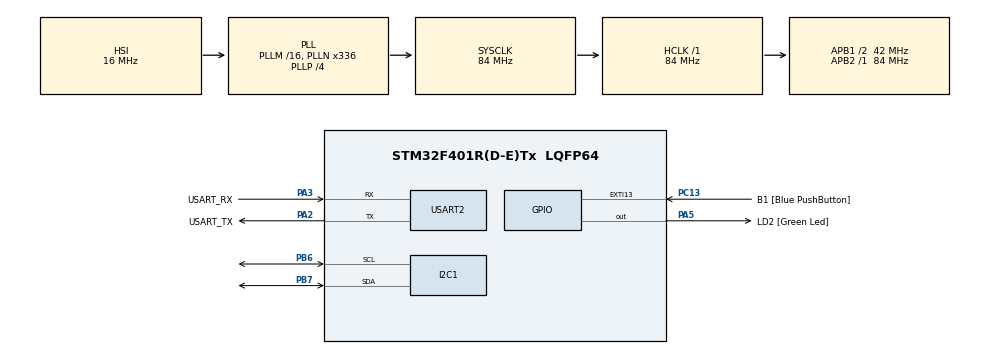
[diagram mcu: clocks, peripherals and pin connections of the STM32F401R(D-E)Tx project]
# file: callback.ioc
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Dma.I2C1_RX.0.Direction=DMA_PERIPH_TO_MEMORY
Dma.I2C1_RX.0.FIFOMode=DMA_FIFOMODE_DISABLE
Dma.I2C1_RX.0.Instance=DMA1_Stream0
Dma.I2C1_RX.0.MemDataAlignment=DMA_MDATAALIGN_BYTE
Dma.I2C1_RX.0.MemInc=DMA_MINC_ENABLE
Dma.I2C1_RX.0.Mode=DMA_NORMAL
Dma.I2C1_RX.0.PeriphDataAlignment=DMA_PDATAALIGN_BYTE
Dma.I2C1_RX.0.PeriphInc=DMA_PINC_DISABLE
Dma.I2C1_RX.0.Priority=DMA_PRIORITY_LOW
Dma.I2C1_TX.1.Direction=DMA_MEMORY_TO_PERIPH
Dma.I2C1_TX.1.FIFOMode=DMA_FIFOMODE_DISABLE
Dma.I2C1_TX.1.Instance=DMA1_Stream6
Dma.I2C1_TX.1.MemDataAlignment=DMA_MDATAALIGN_BYTE
Dma.I2C1_TX.1.MemInc=DMA_MINC_ENABLE
Dma.I2C1_TX.1.Mode=DMA_CIRCULAR
Dma.I2C1_TX.1.PeriphDataAlignment=DMA_PDATAALIGN_BYTE
Dma.I2C1_TX.1.PeriphInc=DMA_PINC_DISABLE
Dma.I2C1_TX.1.Priority=DMA_PRIORITY_LOW
Dma.Request0=I2C1_RX
Dma.Request1=I2C1_TX
FREERTOS.Queues01=myQueue01,16,uint16_t,0,Dynamic,NULL,NULL
FREERTOS.Tasks01=defaultTask,0,128,StartDefaultTask,Default,NULL,Dynamic,NULL,NULL;myTask02,-3,128,StartTask02,Default,NULL,Dynamic,NULL,NULL
Mcu.Family=STM32F4
Mcu.Name=STM32F401R(D-E)Tx
Mcu.Package=LQFP64
NVIC.DMA1_Stream0_IRQn=true\:5\:0\:false\:false\:true\:true\:false\:true\:true
NVIC.DMA1_Stream6_IRQn=true\:5\:0\:false\:false\:true\:true\:false\:true\:true
NVIC.PriorityGroup=NVIC_PRIORITYGROUP_4
PA13.GPIO_Label=TMS
PA13.Mode=Serial_Wire
PA13.Signal=SYS_JTMS-SWDIO
PA14.GPIO_Label=TCK
PA14.Mode=Serial_Wire
PA14.Signal=SYS_JTCK-SWCLK
PA2.GPIO_Label=USART_TX
PA2.GPIO_Mode=GPIO_MODE_AF_PP
PA2.GPIO_PuPd=GPIO_NOPULL
PA2.GPIO_Speed=GPIO_SPEED_FREQ_LOW
PA2.Mode=Asynchronous
PA2.Signal=USART2_TX
PA3.GPIO_Label=USART_RX
PA3.GPIO_Mode=GPIO_MODE_AF_PP
PA3.GPIO_PuPd=GPIO_NOPULL
PA3.GPIO_Speed=GPIO_SPEED_FREQ_LOW
PA3.Mode=Asynchronous
PA3.Signal=USART2_RX
PA5.GPIO_Label=LD2 [Green Led]
PA5.GPIO_Mode=GPIO_MODE_OUTPUT_PP
PA5.GPIO_PuPd=GPIO_NOPULL
PA5.GPIO_Speed=GPIO_SPEED_FREQ_LOW
PA5.Signal=GPIO_Output
PB3.GPIO_Label=SWO
PB3.Signal=SYS_JTDO-SWO
PB6.Mode=I2C
PB6.Signal=I2C1_SCL
PB7.Mode=I2C
PB7.Signal=I2C1_SDA
PC13-ANTI_TAMP.GPIO_Label=B1 [Blue PushButton]
PC13-ANTI_TAMP.GPIO_ModeDefaultEXTI=GPIO_MODE_IT_FALLING
PC13-ANTI_TAMP.GPIO_PuPd=GPIO_NOPULL
PC13-ANTI_TAMP.Signal=GPXTI13
PC14-OSC32_IN.Mode=LSE-External-Oscillator
PC14-OSC32_IN.Signal=RCC_OSC32_IN
PC15-OSC32_OUT.Mode=LSE-External-Oscillator
PC15-OSC32_OUT.Signal=RCC_OSC32_OUT
PH0\ -\ OSC_IN.Mode=HSE-External-Clock-Source
PH0\ -\ OSC_IN.Signal=RCC_OSC_IN
PH1\ -\ OSC_OUT.Mode=HSE-External-Clock-Source
PH1\ -\ OSC_OUT.Signal=RCC_OSC_OUT
ProjectManager.HeapSize=0x200
ProjectManager.StackSize=0x400
ProjectManager.TargetToolchain=STM32CubeIDE
RCC.48MHZClocksFreq_Value=48000000
RCC.AHBFreq_Value=84000000
RCC.APB1CLKDivider=RCC_HCLK_DIV2
RCC.APB1Freq_Value=42000000
RCC.APB1TimFreq_Value=84000000
RCC.APB2Freq_Value=84000000
RCC.APB2TimFreq_Value=84000000
RCC.CortexFreq_Value=84000000
RCC.HCLKFreq_Value=84000000
RCC.HSE_VALUE=8000000
RCC.HSI_VALUE=16000000
RCC.PLLN=336
RCC.PLLP=RCC_PLLP_DIV4
RCC.PLLQ=7
RCC.SYSCLKFreq_VALUE=84000000
RCC.SYSCLKSource=RCC_SYSCLKSOURCE_PLLCLK
RCC.VCOOutputFreq_Value=336000000
USART2.VirtualMode=VM_ASYNC
VP_FREERTOS_VS_CMSIS_V1.Mode=CMSIS_V1
board=NUCLEO-F401RE

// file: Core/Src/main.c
/* USER CODE BEGIN Header */
/**
  ******************************************************************************
  * @file           : main.c
  * @brief          : Main program body for MPU6050 with DMA callback function
  ******************************************************************************
  * @attention
  *
  * This code demonstrates interfacing with the MPU6050 sensor using I2C with DMA
  * and a callback function to handle the DMA transfer complete event. FreeRTOS is
  * used to periodically trigger sensor reads.
  *
  ******************************************************************************
  */
/* USER CODE END Header */

#include "main.h"
#include "cmsis_os.h"
#include <stdio.h>
#include <string.h>

#define MPU6050_ADDR         (0x68 << 1)  // MPU6050 I2C address (7-bit address shifted for HAL)
#define MPU6050_PWR_MGMT_1   0x6B         // Power management register address
#define MPU6050_ACCEL_XOUT_H 0x3B         // Starting register for accelerometer data

I2C_HandleTypeDef hi2c1;
DMA_HandleTypeDef hdma_i2c1_rx;
DMA_HandleTypeDef hdma_i2c1_tx;
UART_HandleTypeDef huart2;

osThreadId defaultTaskHandle;
osThreadId mpu6050TaskHandle;

/* Buffer for sensor data:
   6 bytes for accelerometer, 2 bytes for temperature, 6 bytes for gyroscope */
uint8_t mpu6050Data[14];

int16_t AccelX, AccelY, AccelZ;
int16_t Temperature;
int16_t GyroX, GyroY, GyroZ;

void SystemClock_Config(void);
static void MX_GPIO_Init(void);
static void MX_DMA_Init(void);
static void MX_USART2_UART_Init(void);
static void MX_I2C1_Init(void);
void StartDefaultTask(void const * argument);
void StartMPU6050Task(void const * argument);
void MPU6050_Init(void);
void MPU6050_Read(void);

/* USER CODE BEGIN 0 */
/* Initialize the MPU6050 sensor (wake it up) */
void MPU6050_Init(void)
{
  uint8_t data = 0;
  // Write 0 to the power management register to wake up MPU6050
  if (HAL_I2C_Mem_Write(&hi2c1, MPU6050_ADDR, MPU6050_PWR_MGMT_1, I2C_MEMADD_SIZE_8BIT,
                        &data, 1, HAL_MAX_DELAY) != HAL_OK)
  {
    Error_Handler();
  }
}

/* Start a DMA-based read from the MPU6050 */
void MPU6050_Read(void)
{
  // Read 14 bytes starting from the ACCEL_XOUT_H register
  if (HAL_I2C_Mem_Read_DMA(&hi2c1, MPU6050_ADDR, MPU6050_ACCEL_XOUT_H, I2C_MEMADD_SIZE_8BIT,
                           mpu6050Data, 14) != HAL_OK)
  {
    Error_Handler();
  }
}

/* Callback function: Called when the DMA-based I2C read is complete */
void HAL_I2C_MemRxCpltCallback(I2C_HandleTypeDef *hi2c)
{
  if (hi2c->Instance == I2C1)
  {
    // Combine high and low bytes for each measurement
    AccelX = (int16_t)(mpu6050Data[0] << 8 | mpu6050Data[1]);
    AccelY = (int16_t)(mpu6050Data[2] << 8 | mpu6050Data[3]);
    AccelZ = (int16_t)(mpu6050Data[4] << 8 | mpu6050Data[5]);
    GyroX = (int16_t)(mpu6050Data[8] << 8 | mpu6050Data[9]);
    GyroY = (int16_t)(mpu6050Data[10] << 8 | mpu6050Data[11]);
    GyroZ = (int16_t)(mpu6050Data[12] << 8 | mpu6050Data[13]);

    // Format a message with the detection confirmation and sensor values
    char msg[150];
    int len = snprintf(msg, sizeof(msg),
                       "Detected successfully: AX:%d AY:%d AZ:%d GX:%d GY:%d GZ:%d\r\n",
                       AccelX, AccelY, AccelZ, GyroX, GyroY, GyroZ);
    HAL_UART_Transmit(&huart2, (uint8_t*)msg, len, HAL_MAX_DELAY);
  }
}
/* USER CODE END 0 */

int main(void)
{
  /* MCU Configuration --------------------------------------------------------*/
  HAL_Init();
  SystemClock_Config();

  /* Initialize all configured peripherals */
  MX_GPIO_Init();
  MX_DMA_Init();
  MX_USART2_UART_Init();
  MX_I2C1_Init();

  /* Initialize the MPU6050 sensor */
  MPU6050_Init();

  /* Create the FreeRTOS tasks */
  osThreadDef(defaultTask, StartDefaultTask, osPriorityNormal, 0, 128);
  defaultTaskHandle = osThreadCreate(osThread(defaultTask), NULL);

  osThreadDef(mpu6050Task, StartMPU6050Task, osPriorityNormal, 0, 128);
  mpu6050TaskHandle = osThreadCreate(osThread(mpu6050Task), NULL);

  /* Start scheduler */
  osKernelStart();

  /* Infinite loop (should never reach here) */
  while (1)
  {
  }
}

void SystemClock_Config(void)
{
  RCC_OscInitTypeDef RCC_OscInitStruct = {0};
  RCC_ClkInitTypeDef RCC_ClkInitStruct = {0};

  __HAL_RCC_PWR_CLK_ENABLE();
  __HAL_PWR_VOLTAGESCALING_CONFIG(PWR_REGULATOR_VOLTAGE_SCALE2);

  RCC_OscInitStruct.OscillatorType = RCC_OSCILLATORTYPE_HSI;
  RCC_OscInitStruct.HSIState = RCC_HSI_ON;
  RCC_OscInitStruct.HSICalibrationValue = RCC_HSICALIBRATION_DEFAULT;
  RCC_OscInitStruct.PLL.PLLState = RCC_PLL_ON;
  RCC_OscInitStruct.PLL.PLLSource = RCC_PLLSOURCE_HSI;
  RCC_OscInitStruct.PLL.PLLM = 16;
  RCC_OscInitStruct.PLL.PLLN = 336;
  RCC_OscInitStruct.PLL.PLLP = RCC_PLLP_DIV4;
  RCC_OscInitStruct.PLL.PLLQ = 7;
  if (HAL_RCC_OscConfig(&RCC_OscInitStruct) != HAL_OK)
  {
    Error_Handler();
  }
  RCC_ClkInitStruct.ClockType = RCC_CLOCKTYPE_HCLK | RCC_CLOCKTYPE_SYSCLK |
                                RCC_CLOCKTYPE_PCLK1 | RCC_CLOCKTYPE_PCLK2;
  RCC_ClkInitStruct.SYSCLKSource = RCC_SYSCLKSOURCE_PLLCLK;
  RCC_ClkInitStruct.AHBCLKDivider = RCC_SYSCLK_DIV1;
  RCC_ClkInitStruct.APB1CLKDivider = RCC_HCLK_DIV2;
  RCC_ClkInitStruct.APB2CLKDivider = RCC_HCLK_DIV1;
  if (HAL_RCC_ClockConfig(&RCC_ClkInitStruct, FLASH_LATENCY_2) != HAL_OK)
  {
    Error_Handler();
  }
}

static void MX_I2C1_Init(void)
{
  hi2c1.Instance = I2C1;
  hi2c1.Init.ClockSpeed = 100000;
  hi2c1.Init.DutyCycle = I2C_DUTYCYCLE_2;
  hi2c1.Init.OwnAddress1 = 0;
  hi2c1.Init.AddressingMode = I2C_ADDRESSINGMODE_7BIT;
  hi2c1.Init.DualAddressMode = I2C_DUALADDRESS_DISABLE;
  hi2c1.Init.OwnAddress2 = 0;
  hi2c1.Init.GeneralCallMode = I2C_GENERALCALL_DISABLE;
  hi2c1.Init.NoStretchMode = I2C_NOSTRETCH_DISABLE;
  if (HAL_I2C_Init(&hi2c1) != HAL_OK)
  {
    Error_Handler();
  }
}

static void MX_USART2_UART_Init(void)
{
  huart2.Instance = USART2;
  huart2.Init.BaudRate = 115200;
  huart2.Init.WordLength = UART_WORDLENGTH_8B;
  huart2.Init.StopBits = UART_STOPBITS_1;
  huart2.Init.Parity = UART_PARITY_NONE;
  huart2.Init.Mode = UART_MODE_TX_RX;
  huart2.Init.HwFlowCtl = UART_HWCONTROL_NONE;
  huart2.Init.OverSampling = UART_OVERSAMPLING_16;
  if (HAL_UART_Init(&huart2) != HAL_OK)
  {
    Error_Handler();
  }
}

static void MX_DMA_Init(void)
{
  /* DMA controller clock enable */
  __HAL_RCC_DMA1_CLK_ENABLE();

  /* Configure DMA interrupts */
  HAL_NVIC_SetPriority(DMA1_Stream0_IRQn, 5, 0);
  HAL_NVIC_EnableIRQ(DMA1_Stream0_IRQn);
  HAL_NVIC_SetPriority(DMA1_Stream6_IRQn, 5, 0);
  HAL_NVIC_EnableIRQ(DMA1_Stream6_IRQn);
}

static void MX_GPIO_Init(void)
{
  GPIO_InitTypeDef GPIO_InitStruct = {0};

  /* GPIO Ports Clock Enable */
  __HAL_RCC_GPIOC_CLK_ENABLE();
  __HAL_RCC_GPIOH_CLK_ENABLE();
  __HAL_RCC_GPIOA_CLK_ENABLE();
  __HAL_RCC_GPIOB_CLK_ENABLE();

  /* Configure LD2 Pin Output */
  HAL_GPIO_WritePin(LD2_GPIO_Port, LD2_Pin, GPIO_PIN_RESET);

  /* Configure B1 Pin as input with external interrupt */
  GPIO_InitStruct.Pin = B1_Pin;
  GPIO_InitStruct.Mode = GPIO_MODE_IT_FALLING;
  GPIO_InitStruct.Pull = GPIO_NOPULL;
  HAL_GPIO_Init(B1_GPIO_Port, &GPIO_InitStruct);

  /* Configure LD2 Pin */
  GPIO_InitStruct.Pin = LD2_Pin;
  GPIO_InitStruct.Mode = GPIO_MODE_OUTPUT_PP;
  GPIO_InitStruct.Pull = GPIO_NOPULL;
  GPIO_InitStruct.Speed = GPIO_SPEED_FREQ_LOW;
  HAL_GPIO_Init(LD2_GPIO_Port, &GPIO_InitStruct);
}

/* FreeRTOS Default Task */
void StartDefaultTask(void const * argument)
{
  for(;;)
  {
    osDelay(1);
  }
}

/* FreeRTOS Task to read MPU6050 sensor data periodically */
void StartMPU6050Task(void const * argument)
{
  for(;;)
  {
    MPU6050_Read();    // Start DMA read from MPU6050
    osDelay(100);      // Delay between reads (adjust as needed)
  }
}

void Error_Handler(void)
{
  __disable_irq();
  while (1)
  {
  }
}
